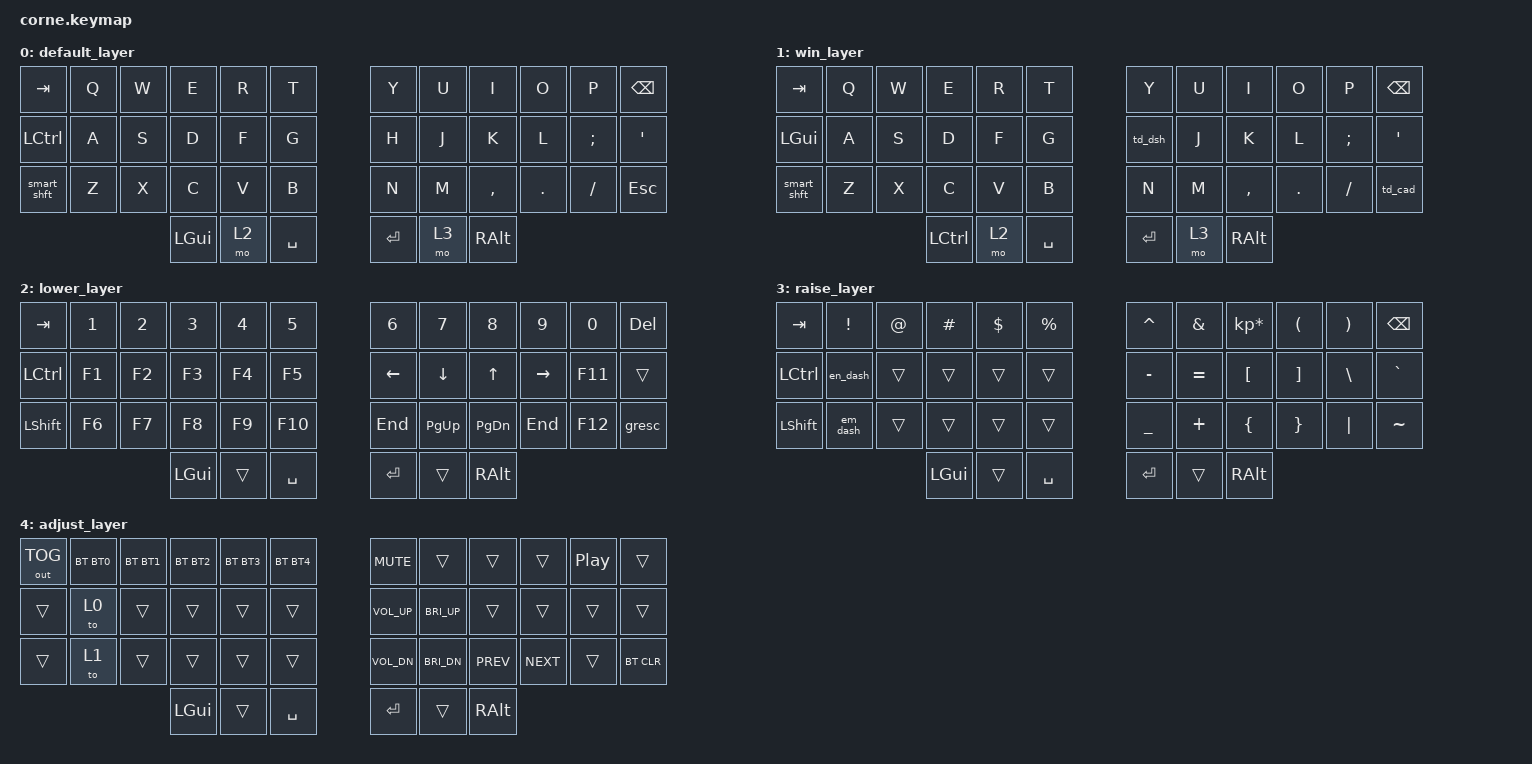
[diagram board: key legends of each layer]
/*
 * Copyright (c) 2020 The ZMK Contributors
 *
 * SPDX-License-Identifier: MIT
 */

#include <behaviors.dtsi>
#include <dt-bindings/zmk/keys.h>
#include <dt-bindings/zmk/bt.h>
#include <dt-bindings/zmk/outputs.h>

#define DEFAULT 0
#define WIN 1
#define LOWER 2
#define RAISE 3
#define ADJUST 4

#define BT0 BT_SEL 0
#define BT1 BT_SEL 1
#define BT2 BT_SEL 2
#define BT3 BT_SEL 3
#define BT4 BT_SEL 4


/ {

    conditional_layers {
        compatible = "zmk,conditional-layers";

        tri_layer {
            if-layers = <LOWER RAISE>;
            then-layer = <ADJUST>;
        };
    };
    
    macros {
		ZMK_MACRO(en_dash,
			wait-ms = <40>;
			tap-ms = <40>;
			bindings
			    = <&macro_press   &kp LALT>
    			, <&macro_tap     &kp KP_N0 &kp KP_N1 &kp KP_N5 &kp KP_N0>
    			, <&macro_release &kp LALT>
    			;
		)
		
		ZMK_MACRO(em_dash,
			wait-ms = <40>;
			tap-ms = <40>;
			bindings
			    = <&macro_press   &kp LALT>
    			, <&macro_tap     &kp KP_N0 &kp KP_N1 &kp KP_N5 &kp KP_N1>
    			, <&macro_release &kp LALT>
    			;
		)

    };

    behaviors {
        smart_shft: smart_shift {
            compatible = "zmk,behavior-mod-morph";
            label = "SMART_SHIFT";
            #binding-cells = <0>;
            bindings = <&sk LSHFT>, <&caps_word>;
            mods = <(MOD_LSFT)>;
        };
        
        td_en: tap_dance_en_dash {
            compatible = "zmk,behavior-tap-dance";
            label = "TAP_DANCE_EN_DASH";
            #binding-cells = <0>;
            tapping-term-ms = <200>;
            bindings = <&kp N>, <&en_dash>;        	
        };
                
        td_em: tap_dance_em_dash {
            compatible = "zmk,behavior-tap-dance";
            label = "TAP_DANCE_EM_DASH";
            #binding-cells = <0>;
            tapping-term-ms = <200>;
            bindings = <&kp M>, <&em_dash>;        	
        };

        td_dsh: tap_dance_dash {
            compatible = "zmk,behavior-tap-dance";
            label = "TAP_DANCE_DASH";
            #binding-cells = <0>;
            tapping-term-ms = <200>;
            bindings = <&kp H>, <&en_dash>, <&em_dash>;        	
        };

        td_cad: tap_dance_cad {
            compatible = "zmk,behavior-tap-dance";
            label = "TAP_DANCE_CTL_ALT_DEL";
            #binding-cells = <0>;
            tapping-term-ms = <200>;
            bindings = <&kp ESC>, <&kp LC(LA(DEL))>;        	
        };


    };    
    
        keymap {
                compatible = "zmk,keymap";

                default_layer {
// -----------------------------------------------------------------------------------------
// |  TAB |  Q  |  W  |  E  |  R  |  T  |   |  Y  |  U   |  I  |  O  |  P  | BKSP |
// | CTRL |  A  |  S  |  D  |  F  |  G  |   |  H  |  J   |  K  |  L  |  ;  |  '   |
// | SHFT |  Z  |  X  |  C  |  V  |  B  |   |  N  |  M   |  ,  |  .  |  /  | ESC  |
//                    | GUI | LWR | SPC |   | ENT | RSE  | ALT |
                        bindings = <
   &kp TAB     &kp Q &kp W &kp E    &kp R &kp T      &kp Y   &kp U  &kp I     &kp O   &kp P    &kp BSPC
   &kp LCTRL   &kp A &kp S &kp D    &kp F &kp G      &kp H   &kp J  &kp K     &kp L   &kp SEMI &kp SQT
   &smart_shft &kp Z &kp X &kp C    &kp V &kp B      &kp N   &kp M  &kp COMMA &kp DOT &kp FSLH &kp ESC
                           &kp LGUI &mo 2 &kp SPACE  &kp RET &mo 3  &kp RALT
                        >;
                };

                win_layer {
// -----------------------------------------------------------------------------------------
// |  TAB |  Q  |  W  |  E   |  R  |  T  |   |  Y  |  U   |  I  |  O  |  P  | BKSP |
// | GUI  |  A  |  S  |  D   |  F  |  G  |   |  H  |  J   |  K  |  L  |  ;  |  '   |
// | SHFT |  Z  |  X  |  C   |  V  |  B  |   |  N  |  M   |  ,  |  .  |  /  | ESC  |
//                    | CTRL | LWR | SPC |   | ENT | RSE  | ALT |
                        bindings = <
   &kp TAB     &kp Q &kp W &kp E     &kp R &kp T      &kp Y   &kp U &kp I     &kp O   &kp P    &kp BSPC
   &kp LGUI    &kp A &kp S &kp D     &kp F &kp G      &td_dsh &kp J &kp K     &kp L   &kp SEMI &kp SQT
   &smart_shft &kp Z &kp X &kp C     &kp V &kp B      &kp N   &kp M &kp COMMA &kp DOT &kp FSLH &td_cad
                           &kp LCTRL &mo 2 &kp SPACE  &kp RET &mo 3 &kp RALT
                        >;
                };
                
                lower_layer {
// -----------------------------------------------------------------------------------------
// |  TAB |  1  |  2  |  3  |  4  |  5  |   |  6   |  7   |  8   |  9   |  0  | DEL  |
// | CTRL | F1  | F2  | F3  | F3  | F5  |   | LEFT | DOWN |  UP  | RIGT | F11 |      |
// | SHFT | F6  | F7  | F8  | F9  | F10 |   | HOME | PGDN | PGUP | END  | F12 | GRESC|
//                    | GUI |     | SPC |   | ENT  |      | ALT  |
                        bindings = <
   &kp TAB   &kp N1  &kp N2  &kp N3   &kp N4  &kp N5     &kp N6   &kp N7    &kp N8    &kp N9    &kp N0  &kp DEL
   &kp LCTRL &kp F1  &kp F2  &kp F3   &kp F4  &kp F5     &kp LEFT &kp DOWN  &kp UP    &kp RIGHT &kp F11 &trans
   &kp LSHFT &kp F6  &kp F7  &kp F8   &kp F9  &kp F10    &kp END  &kp PG_UP &kp PG_DN &kp END   &kp F12 &gresc
                      		 &kp LGUI &trans  &kp SPACE  &kp RET  &trans    &kp RALT
                        >;
                };

                raise_layer {
// -----------------------------------------------------------------------------------------
// |  TAB |  !  |  @  |  #  |  $  |  %  |   |  ^  |  &  |  *  |  (  |  )  | BKSP |
// | CTRL |  EN |     |     |     |     |   |  -  |  =  |  [  |  ]  |  \  |  `   |
// | SHFT |  EM |     |     |     |     |   |  _  |  +  |  {  |  }  | "|" |  ~   |
//                    | GUI |     | SPC |   | ENT |     | ALT |
                        bindings = <
   &kp  TAB  &kp EXCL &kp AT &kp HASH &kp DLLR &kp PRCNT   &kp CARET &kp AMPS  &kp KP_MULTIPLY &kp LPAR &kp RPAR &kp BSPC
   &kp LCTRL &en_dash &trans &trans   &trans   &trans      &kp MINUS &kp EQUAL &kp LBKT        &kp RBKT &kp BSLH &kp GRAVE
   &kp LSHFT &em_dash &trans &trans   &trans   &trans      &kp UNDER &kp PLUS  &kp LBRC        &kp RBRC &kp PIPE &kp TILDE
                    	     &kp LGUI &trans   &kp SPACE   &kp RET   &trans    &kp RALT
                        >;
                };
                
        		adjust_layer {
            			bindings = <
// -----------------------------------------------------------------------------------------
// |      | BT1 | BT2 | BT3 | BT4 | BT5 |   | MUTE|     |     |     |PLAY |     |
// |      | MAC |     |     |     |     |   | VLUP|BRIUP|     |     |     |     |
// |      | WIN |     |     |     |     |   | VLDN|BRIDN|PREV |NEXT |     |     | BTCLR
//                    | GUI |     | SPC |   | ENT |     | ALT |
   &out OUT_TOG &bt BT0 &bt BT1 &bt BT2  &bt BT3 &bt BT4     &kp K_MUTE   &trans       &trans     &trans     &kp C_PP &trans 
   &trans       &to 0   &trans  &trans   &trans  &trans      &kp C_VOL_UP &kp C_BRI_UP &trans     &trans     &trans   &trans
   &trans       &to 1   &trans  &trans   &trans  &trans      &kp C_VOL_DN &kp C_BRI_DN &kp C_PREV &kp C_NEXT &trans   &bt BT_CLR
                    	        &kp LGUI &trans  &kp SPACE   &kp RET      &trans       &kp RALT
                    	>;
        	};
        };
};
